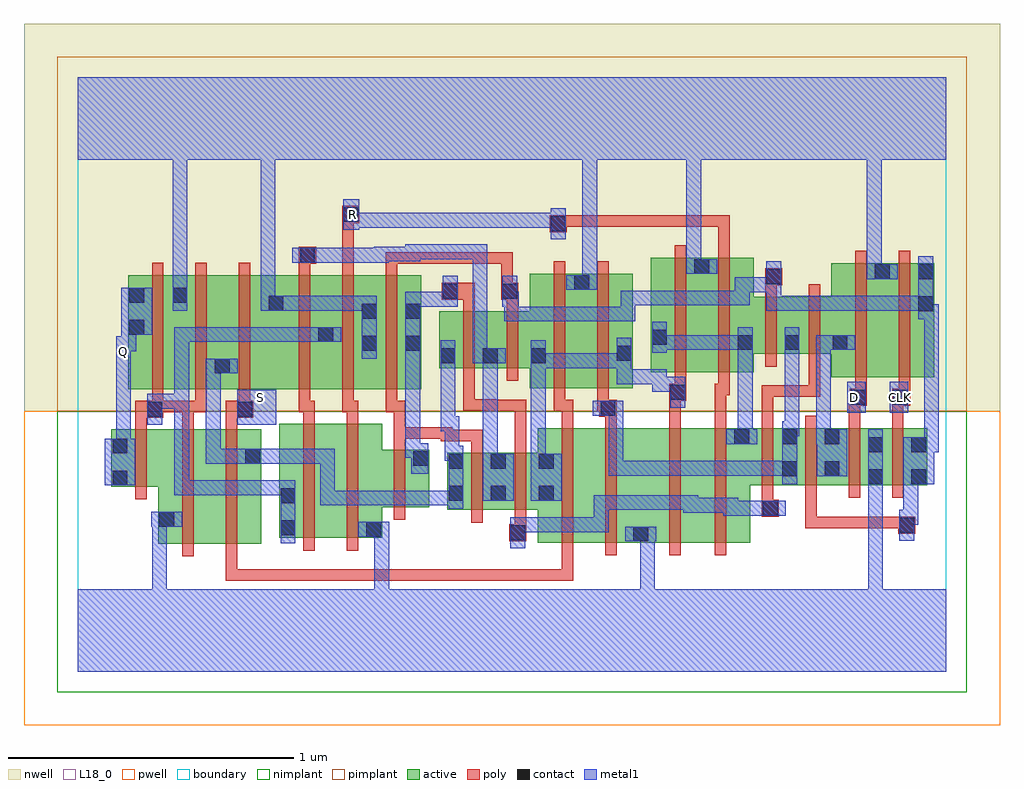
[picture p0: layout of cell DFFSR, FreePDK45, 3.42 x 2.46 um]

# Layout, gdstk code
import gdstk
lib = gdstk.Library(unit=1e-6, precision=1e-09)
def R(c, l, rs):  # rectangles x0, y0, x1, y1
    for r in rs: c.add(gdstk.rectangle(r[:2], r[2:], *l))
def A(c, l, x, y, w, h, nx, ny, dx, dy):  # array of equal rectangles
    R(c, l, [(x+i*dx, y+j*dy, x+i*dx+w, y+j*dy+h) for i in range(nx) for j in range(ny)])
active = (1, 0)
pwell = (2, 0)
nwell = (3, 0)
nimplant = (4, 0)
pimplant = (5, 0)
poly = (9, 0)
contact = (10, 0)
metal1 = (11, 0)
L18_0 = (18, 0)
boundary = (235, 0)

dffsr = lib.new_cell('DFFSR')
R(dffsr, active, [(0.282,0.448,0.462,0.848), (0.282,0.448,0.342,0.848), (0.462,0.448,0.642,0.848), (1.61,0.452,1.79,0.852), (1.79,0.452,2,0.852), (1.94,0.452,2.174,0.852), (1.94,0.452,2,0.524), (2.174,0.452,2.354,0.852), (0.582,0.46,0.642,0.848), (0.706,0.468,0.886,0.868), (0.706,0.468,0.766,0.868), (0.886,0.468,1.066,0.868), (1.006,0.468,1.066,0.662), (2.294,0.564,2.354,0.852), (1.294,0.566,1.502,0.766), (1.442,0.566,1.67,0.766), (1.294,0.574,1.354,0.766), (1.006,0.576,1.23,0.776), (1.17,0.576,1.23,0.776), (1.61,0.588,1.67,0.766), (1.442,0.594,1.502,0.766), (0.118,0.648,0.178,0.848), (0.118,0.648,0.342,0.848), (2.294,0.652,2.522,0.852), (2.462,0.652,2.67,0.852), (2.61,0.652,2.822,0.852), (2.762,0.652,2.974,0.852), (2.762,0.652,2.822,0.824), (2.914,0.652,2.974,0.852), (2.462,0.668,2.522,0.852), (2.61,0.668,2.67,0.852), (0.176,0.988,0.236,1.388), (0.176,0.988,0.388,1.388), (0.328,0.988,0.536,1.388), (0.476,0.988,0.724,1.388), (0.664,0.988,0.898,1.388), (0.838,0.988,1.05,1.388), (0.99,0.988,1.202,1.388), (0.99,0.988,1.05,1.382), (1.142,0.988,1.202,1.382), (1.582,0.992,1.794,1.392), (1.734,0.992,1.942,1.392), (1.882,0.992,1.942,1.392), (2.638,1.03,2.846,1.43), (2.786,1.03,2.998,1.43), (2.938,1.03,2.998,1.43), (0.476,1.04,0.536,1.356), (2.006,1.048,2.066,1.448), (2.006,1.048,2.214,1.448), (2.154,1.048,2.366,1.448), (1.266,1.062,1.474,1.262), (1.266,1.062,1.326,1.194), (1.414,1.062,1.642,1.262), (1.582,1.062,1.642,1.344), (1.414,1.076,1.474,1.156), (1.734,1.084,1.794,1.392), (2.154,1.112,2.214,1.448), (2.306,1.112,2.53,1.312), (2.47,1.112,2.698,1.312), (2.638,1.112,2.698,1.43), (2.786,1.116,2.846,1.43), (2.306,1.122,2.366,1.182), (2.47,1.122,2.53,1.182), (0.838,1.15,0.898,1.318), (0.664,1.224,0.724,1.388), (0.328,1.254,0.388,1.388)])
R(dffsr, pwell, [(-0.188,-0.188,3.228,0.912)])
R(dffsr, nwell, [(-0.188,0.912,3.228,2.268)])
R(dffsr, nimplant, [(-0.072,-0.072,3.112,0.912)])
R(dffsr, pimplant, [(-0.072,0.912,3.112,2.152)])
A(dffsr, poly, 2.394, 0.608, 0.04, 0.288, 4, 1, 0.152, 0)
A(dffsr, poly, 0.26, 0.908, 0.04, 0.076, 3, 1, 0.152, 0)
A(dffsr, poly, 0.774, 0.908, 0.04, 0.076, 3, 1, 0.152, 0)
A(dffsr, poly, 0.26, 0.944, 0.04, 0.488, 3, 1, 0.152, 0)
A(dffsr, poly, 0.774, 0.944, 0.04, 0.488, 3, 1, 0.152, 0)
R(dffsr, poly, [(0.518,0.318,0.558,0.358), (0.518,0.318,0.558,0.358), (0.518,0.318,0.558,0.358), (0.518,0.318,0.664,0.358), (0.518,0.318,0.558,0.444), (0.624,0.318,0.664,0.358), (0.624,0.318,0.664,0.358), (0.624,0.318,0.664,0.358), (0.624,0.318,0.77,0.358), (0.73,0.318,0.77,0.358), (0.73,0.318,0.77,0.358), (0.73,0.318,0.77,0.358), (0.73,0.318,1.012,0.358), (0.972,0.318,1.012,0.358), (0.972,0.318,1.012,0.358), (0.972,0.318,1.012,0.358), (0.972,0.318,1.118,0.358), (1.078,0.318,1.118,0.358), (1.078,0.318,1.33,0.358), (1.29,0.318,1.33,0.358), (1.29,0.318,1.33,0.358), (1.29,0.318,1.33,0.358), (1.29,0.318,1.496,0.358), (1.456,0.318,1.496,0.358), (1.456,0.318,1.496,0.358), (1.456,0.318,1.496,0.358), (1.456,0.318,1.734,0.358), (1.694,0.318,1.734,0.358), (1.694,0.318,1.734,0.358), (1.694,0.318,1.734,0.358), (1.694,0.318,1.734,0.448), (0.366,0.404,0.406,0.892), (0.518,0.404,0.558,0.892), (1.694,0.408,1.734,0.896), (1.846,0.408,1.886,0.896), (2.07,0.408,2.11,0.896), (2.23,0.408,2.27,0.896), (0.79,0.424,0.83,0.912), (0.942,0.424,0.982,0.912), (1.51,0.456,1.57,0.516), (1.53,0.476,1.57,0.562), (2.872,0.482,2.932,0.542), (2.546,0.502,2.586,0.542), (2.546,0.502,2.696,0.542), (2.546,0.502,2.586,0.648), (2.656,0.502,2.696,0.542), (2.656,0.502,2.696,0.542), (2.656,0.502,2.696,0.542), (2.656,0.502,2.912,0.542), (2.872,0.502,2.912,0.542), (2.872,0.502,2.912,0.542), (1.378,0.522,1.418,0.81), (1.53,0.522,1.57,0.81), (1.106,0.532,1.146,0.82), (2.394,0.542,2.454,0.602), (2.394,0.562,2.434,0.648), (0.202,0.604,0.242,0.892), (1.378,0.77,1.418,0.846), (1.53,0.77,1.57,0.952), (1.106,0.78,1.146,0.856), (1.27,0.806,1.418,0.846), (1.27,0.806,1.31,0.856), (1.378,0.806,1.418,0.846), (1.106,0.816,1.146,0.856), (1.106,0.816,1.146,0.856), (1.106,0.816,1.146,0.856), (1.106,0.816,1.31,0.856), (1.106,0.816,1.146,0.948), (0.202,0.852,0.242,0.928), (0.366,0.852,0.406,0.948), (0.518,0.852,0.558,0.928), (1.694,0.856,1.734,0.952), (1.846,0.856,1.886,0.932), (2.07,0.856,2.11,0.988), (2.23,0.856,2.27,1.008), (2.394,0.856,2.434,1.002), (2.698,0.856,2.738,0.97), (2.85,0.856,2.89,0.97), (0.79,0.872,0.83,0.948), (0.942,0.872,0.982,0.948), (0.202,0.888,0.3,0.948), (0.518,0.888,0.614,0.948), (1.826,0.892,1.886,0.952), (0.26,0.908,0.3,0.948), (0.26,0.908,0.3,0.948), (0.26,0.908,0.3,0.948), (0.26,0.908,0.3,0.948), (0.26,0.908,0.406,0.948), (0.366,0.908,0.406,0.948), (0.366,0.908,0.406,0.948), (0.366,0.908,0.452,0.948), (0.564,0.908,0.604,0.948), (0.564,0.908,0.604,0.948), (0.774,0.908,0.814,0.948), (0.774,0.908,0.814,0.948), (0.774,0.908,0.83,0.948), (0.926,0.908,0.982,0.948), (0.942,0.908,0.982,0.948), (0.942,0.908,0.982,0.948), (1.078,0.908,1.146,0.948), (1.428,0.912,1.57,0.952), (1.428,0.912,1.468,0.954), (1.53,0.912,1.57,0.952), (1.53,0.912,1.57,0.952), (1.53,0.912,1.57,0.952), (1.666,0.912,1.706,0.988), (1.666,0.912,1.734,0.952), (1.694,0.912,1.734,0.952), (1.694,0.912,1.734,0.952), (1.818,0.912,1.858,0.988), (1.818,0.912,1.866,0.952), (1.826,0.912,1.866,0.952), (1.35,0.914,1.39,0.954), (1.35,0.914,1.468,0.954), (1.35,0.914,1.39,1.058), (2.698,0.93,2.742,0.97), (2.702,0.93,2.742,0.97), (2.702,0.93,2.762,0.99), (2.85,0.93,2.89,0.97), (2.85,0.93,2.89,0.97), (2.85,0.93,2.914,0.99), (1.666,0.948,1.706,1.436), (1.818,0.948,1.858,1.436), (2.07,0.948,2.11,0.988), (2.07,0.948,2.11,0.988), (2.07,0.948,2.13,1.008), (2.722,0.95,2.762,1.026), (2.874,0.95,2.914,1.026), (2.394,0.962,2.434,1.002), (2.394,0.962,2.434,1.002), (2.394,0.962,2.434,1.002), (2.394,0.962,2.598,1.002), (2.558,0.962,2.598,1.002), (2.558,0.962,2.598,1.002), (2.558,0.962,2.598,1.002), (2.558,0.962,2.598,1.108), (2.09,0.968,2.13,1.044), (2.23,0.968,2.282,1.008), (2.242,0.968,2.282,1.044), (2.242,0.968,2.282,1.008), (2.242,0.968,2.282,1.008), (2.722,0.986,2.762,1.474), (2.874,0.986,2.914,1.474), (2.09,1.004,2.13,1.492), (2.242,1.004,2.282,1.492), (1.35,1.018,1.39,1.306), (1.502,1.018,1.542,1.306), (2.406,1.068,2.446,1.356), (2.558,1.068,2.598,1.356), (1.35,1.266,1.39,1.342), (1.502,1.266,1.542,1.342), (1.274,1.302,1.39,1.362), (1.482,1.302,1.542,1.362), (2.406,1.316,2.446,1.392), (1.482,1.322,1.522,1.468), (2.406,1.352,2.466,1.412), (0.774,1.392,0.814,1.468), (0.926,1.392,0.966,1.61), (1.078,1.392,1.118,1.468), (0.774,1.428,0.834,1.488), (1.078,1.428,1.118,1.468), (1.078,1.428,1.118,1.468), (1.078,1.428,1.118,1.468), (1.078,1.428,1.33,1.468), (1.29,1.428,1.33,1.468), (1.29,1.428,1.33,1.468), (1.29,1.428,1.33,1.468), (1.29,1.428,1.522,1.468), (1.482,1.428,1.522,1.468), (1.482,1.428,1.522,1.468), (1.482,1.428,1.522,1.468), (1.482,1.428,1.522,1.468), (1.482,1.428,1.522,1.468), (2.242,1.452,2.282,1.598), (1.652,1.538,1.712,1.598), (1.672,1.558,1.84,1.598), (1.8,1.558,1.84,1.598), (1.8,1.558,1.84,1.598), (1.8,1.558,1.84,1.598), (1.8,1.558,1.946,1.598), (1.906,1.558,1.946,1.598), (1.906,1.558,1.946,1.598), (1.906,1.558,1.946,1.598), (1.906,1.558,2.164,1.598), (2.124,1.558,2.164,1.598), (2.124,1.558,2.282,1.598), (2.242,1.558,2.282,1.598), (2.242,1.558,2.282,1.598), (2.242,1.558,2.282,1.598), (0.926,1.57,0.986,1.63)])
R(dffsr, contact, [(1.944,0.456,1.996,0.508), (1.514,0.46,1.566,0.512), (1.01,0.472,1.062,0.524), (0.71,0.478,0.762,0.53), (2.876,0.486,2.928,0.538), (0.286,0.508,0.338,0.56), (2.398,0.546,2.45,0.598), (0.71,0.59,0.762,0.642), (1.298,0.598,1.35,0.65), (1.446,0.598,1.498,0.65), (1.614,0.598,1.666,0.65), (0.122,0.652,0.174,0.704), (2.766,0.656,2.818,0.708), (2.918,0.656,2.97,0.708), (2.466,0.684,2.518,0.736), (2.614,0.684,2.666,0.736), (1.298,0.71,1.35,0.762), (1.446,0.71,1.498,0.762), (1.614,0.71,1.666,0.762), (1.174,0.72,1.226,0.772), (0.586,0.728,0.638,0.78), (0.122,0.764,0.174,0.816), (2.766,0.768,2.818,0.82), (2.918,0.768,2.97,0.82), (2.298,0.796,2.35,0.848), (2.466,0.796,2.518,0.848), (2.614,0.796,2.666,0.848), (0.244,0.892,0.296,0.944), (0.558,0.892,0.61,0.944), (1.83,0.896,1.882,0.948), (2.706,0.934,2.758,0.986), (2.854,0.934,2.906,0.986), (2.074,0.952,2.126,1.004), (0.48,1.044,0.532,1.096), (1.27,1.08,1.322,1.132), (1.418,1.08,1.47,1.132), (1.586,1.08,1.638,1.132), (1.886,1.088,1.938,1.14), (0.994,1.124,1.046,1.176), (1.146,1.124,1.198,1.176), (2.31,1.126,2.362,1.178), (2.474,1.126,2.526,1.178), (2.642,1.126,2.694,1.178), (2.01,1.144,2.062,1.196), (0.842,1.154,0.894,1.206), (0.18,1.18,0.232,1.232), (0.994,1.236,1.046,1.288), (1.146,1.236,1.198,1.288), (2.942,1.262,2.994,1.314), (0.668,1.264,0.72,1.316), (0.18,1.292,0.232,1.344), (0.332,1.292,0.384,1.344), (1.278,1.306,1.33,1.358), (1.486,1.306,1.538,1.358), (1.738,1.336,1.79,1.388), (2.41,1.356,2.462,1.408), (2.79,1.374,2.842,1.426), (2.942,1.374,2.994,1.426), (2.158,1.392,2.21,1.444), (0.778,1.432,0.83,1.484), (1.656,1.542,1.708,1.594), (0.93,1.574,0.982,1.626)])
A(dffsr, metal1, 0.53, 0.728, 0.052, 0.052, 3, 1, 0.11, 0)
R(dffsr, metal1, [(0,0,3.04,0.288), (0.26,0.236,0.312,0.288), (0.26,0.236,0.312,0.288), (0.26,0.236,0.312,0.56), (1.038,0.236,1.09,0.524), (1.968,0.236,2.02,0.508), (2.766,0.236,2.818,0.288), (2.766,0.236,2.818,0.288), (2.766,0.236,2.818,0.288), (2.766,0.236,2.818,0.288), (2.766,0.236,2.818,0.288), (2.766,0.236,2.818,0.288), (2.766,0.236,2.818,0.68), (1.514,0.432,1.566,0.54), (0.71,0.45,0.762,0.67), (1.916,0.456,2.024,0.508), (1.968,0.456,2.02,0.508), (1.968,0.456,2.02,0.508), (2.876,0.458,2.928,0.566), (0.982,0.472,1.09,0.524), (1.038,0.472,1.09,0.524), (1.038,0.472,1.09,0.524), (1.514,0.488,1.566,0.54), (1.514,0.488,1.566,0.54), (1.514,0.488,1.744,0.54), (1.692,0.488,1.744,0.54), (1.692,0.488,1.748,0.54), (1.696,0.488,1.748,0.54), (1.696,0.488,1.858,0.54), (1.806,0.488,1.858,0.618), (0.258,0.508,0.366,0.56), (2.876,0.514,2.942,0.566), (2.89,0.514,2.942,0.566), (2.89,0.514,2.942,0.566), (2.89,0.514,2.942,0.566), (2.89,0.514,2.942,0.708), (2.26,0.546,2.312,0.598), (2.26,0.546,2.312,0.598), (2.26,0.546,2.422,0.598), (2.26,0.546,2.312,0.608), (2.37,0.546,2.478,0.598), (2.12,0.556,2.172,0.608), (2.12,0.556,2.172,0.608), (2.12,0.556,2.312,0.608), (2.12,0.556,2.172,0.618), (1.806,0.566,1.858,0.618), (1.806,0.566,1.858,0.618), (1.806,0.566,2.062,0.618), (2.01,0.566,2.062,0.618), (2.01,0.566,2.172,0.618), (1.298,0.57,1.35,0.79), (0.848,0.582,0.9,0.634), (0.848,0.582,1.01,0.634), (0.848,0.582,0.9,0.78), (0.958,0.582,1.01,0.634), (0.958,0.582,1.01,0.634), (0.958,0.582,1.01,0.634), (0.958,0.582,1.2,0.634), (1.148,0.582,1.2,0.634), (1.148,0.582,1.2,0.634), (1.148,0.582,1.2,0.634), (1.148,0.582,1.35,0.634), (1.418,0.598,1.526,0.762), (1.586,0.598,1.694,0.762), (0.338,0.618,0.39,0.67), (0.338,0.618,0.406,0.67), (0.338,0.618,0.39,0.972), (0.354,0.618,0.406,0.67), (0.354,0.618,0.5,0.67), (0.448,0.618,0.5,0.67), (0.448,0.618,0.582,0.67), (0.53,0.618,0.582,0.67), (0.53,0.618,0.61,0.67), (0.558,0.618,0.61,0.67), (0.558,0.618,0.762,0.67), (2.766,0.628,2.818,0.848), (0.094,0.652,0.202,0.816), (2.466,0.656,2.518,0.876), (2.89,0.656,2.998,0.82), (2.586,0.684,2.694,0.848), (1.858,0.686,1.91,0.738), (1.858,0.686,2.062,0.738), (1.858,0.686,1.91,0.948), (2.01,0.686,2.062,0.738), (2.01,0.686,2.062,0.738), (2.01,0.686,2.062,0.738), (2.01,0.686,2.172,0.738), (2.12,0.686,2.172,0.738), (2.12,0.686,2.172,0.738), (2.12,0.686,2.172,0.738), (2.12,0.686,2.312,0.738), (2.26,0.686,2.312,0.738), (2.26,0.686,2.312,0.738), (2.26,0.686,2.312,0.738), (2.26,0.686,2.518,0.738), (2.466,0.686,2.518,0.738), (2.466,0.686,2.518,0.738), (1.168,0.692,1.226,0.8), (1.418,0.71,1.47,0.762), (1.418,0.71,1.47,0.762), (1.418,0.71,1.47,0.762), (1.418,0.71,1.47,0.762), (1.418,0.71,1.47,1.132), (1.586,0.71,1.638,0.762), (1.586,0.71,1.638,0.762), (1.586,0.71,1.638,1.104), (0.448,0.728,0.5,0.78), (0.448,0.728,0.582,0.78), (0.448,0.728,0.5,1.096), (0.53,0.728,0.61,0.78), (0.558,0.728,0.666,0.78), (0.614,0.728,0.692,0.78), (0.64,0.728,0.802,0.78), (0.75,0.728,0.9,0.78), (0.848,0.728,0.9,0.78), (1.284,0.738,1.336,0.79), (1.284,0.738,1.336,0.79), (1.284,0.738,1.35,0.79), (1.284,0.738,1.336,0.894), (1.298,0.738,1.35,0.79), (1.146,0.748,1.212,0.8), (1.146,0.748,1.198,1.148), (1.16,0.748,1.212,0.8), (1.16,0.748,1.22,0.8), (1.168,0.748,1.22,0.8), (0.134,0.764,0.186,1.118), (2.946,0.768,2.998,0.82), (2.946,0.768,3.014,0.82), (2.962,0.768,3.014,1.286), (2.27,0.796,2.378,0.848), (2.31,0.796,2.362,1.15), (2.584,0.796,2.636,1.178), (2.584,0.796,2.638,0.848), (2.586,0.796,2.638,0.848), (2.466,0.824,2.518,0.876), (2.466,0.824,2.526,0.876), (2.474,0.824,2.526,0.876), (2.474,0.824,2.526,0.876), (2.474,0.824,2.526,1.15), (1.27,0.842,1.336,0.894), (1.27,0.842,1.322,1.104), (0.244,0.864,0.296,0.972), (0.558,0.864,0.694,0.986), (1.802,0.896,1.91,0.948), (1.858,0.896,1.91,0.948), (1.858,0.896,1.91,0.948), (2.694,0.906,2.758,1.014), (2.842,0.906,2.906,1.014), (0.244,0.92,0.39,0.972), (0.338,0.92,0.39,0.972), (0.338,0.92,0.39,0.972), (0.338,0.92,0.39,0.972), (0.338,0.92,0.39,0.972), (0.338,0.92,0.39,0.972), (0.338,0.92,0.39,0.972), (0.338,0.92,0.39,0.972), (0.338,0.92,0.39,1.206), (2.074,0.924,2.126,1.032), (2.01,0.98,2.126,1.032), (2.01,0.98,2.062,1.058), (1.886,1.006,1.938,1.058), (1.886,1.006,2.062,1.058), (1.886,1.006,1.938,1.112), (0.448,1.044,0.5,1.096), (0.448,1.044,0.5,1.096), (0.448,1.044,0.504,1.096), (0.452,1.044,0.504,1.096), (0.452,1.044,0.56,1.096), (1.27,1.052,1.322,1.16), (1.586,1.052,1.638,1.104), (1.586,1.052,1.638,1.104), (1.586,1.052,1.638,1.16), (1.886,1.06,1.938,1.168), (1.586,1.062,1.744,1.114), (1.692,1.062,1.744,1.114), (1.692,1.062,1.748,1.114), (1.696,1.062,1.748,1.114), (1.696,1.062,1.938,1.114), (1.886,1.062,1.938,1.114), (1.886,1.062,1.938,1.114), (0.134,1.066,0.186,1.174), (1.382,1.08,1.498,1.132), (1.382,1.08,1.434,1.496), (1.418,1.08,1.47,1.132), (1.418,1.08,1.47,1.132), (0.994,1.096,1.046,1.316), (1.146,1.096,1.198,1.316), (2.31,1.098,2.362,1.15), (2.31,1.098,2.362,1.15), (2.31,1.098,2.362,1.15), (2.31,1.098,2.362,1.15), (2.31,1.098,2.362,1.206), (2.474,1.098,2.526,1.15), (2.474,1.098,2.526,1.15), (2.474,1.098,2.526,1.206), (2.01,1.116,2.062,1.224), (0.134,1.122,0.186,1.174), (0.134,1.122,0.204,1.174), (0.152,1.122,0.204,1.232), (2.01,1.126,2.062,1.178), (2.01,1.126,2.062,1.178), (2.01,1.126,2.202,1.178), (2.15,1.126,2.202,1.178), (2.15,1.126,2.312,1.178), (2.26,1.126,2.312,1.178), (2.26,1.126,2.362,1.178), (2.584,1.126,2.636,1.178), (2.584,1.126,2.636,1.178), (2.584,1.126,2.722,1.178), (0.338,1.154,0.39,1.206), (0.338,1.154,0.406,1.206), (0.354,1.154,0.406,1.206), (0.354,1.154,0.5,1.206), (0.448,1.154,0.5,1.206), (0.448,1.154,0.582,1.206), (0.53,1.154,0.582,1.206), (0.53,1.154,0.692,1.206), (0.64,1.154,0.692,1.206), (0.64,1.154,0.692,1.206), (0.64,1.154,0.692,1.206), (0.64,1.154,0.866,1.206), (0.814,1.154,0.866,1.206), (0.814,1.154,0.866,1.206), (0.814,1.154,0.922,1.206), (0.152,1.18,0.26,1.344), (1.492,1.226,1.71,1.278), (1.492,1.226,1.544,1.33), (1.658,1.226,1.71,1.278), (1.658,1.226,1.748,1.278), (1.696,1.226,1.748,1.278), (1.696,1.226,1.952,1.278), (1.9,1.226,1.952,1.278), (1.9,1.226,1.952,1.278), (1.9,1.226,1.952,1.334), (2.942,1.234,2.994,1.286), (2.942,1.234,2.994,1.454), (2.942,1.234,3.014,1.286), (2.962,1.234,3.014,1.286), (2.962,1.234,3.014,1.286), (0.332,1.264,0.384,1.372), (0.64,1.264,0.692,1.316), (0.64,1.264,0.692,1.316), (0.64,1.264,0.692,1.316), (0.64,1.264,0.692,1.316), (0.64,1.264,0.692,1.316), (0.64,1.264,0.692,1.316), (0.64,1.264,0.748,1.316), (0.64,1.264,0.692,1.844), (0.696,1.264,0.748,1.316), (0.696,1.264,0.748,1.316), (0.696,1.264,0.872,1.316), (0.82,1.264,0.872,1.316), (0.82,1.264,0.872,1.316), (0.82,1.264,0.872,1.316), (0.82,1.264,1.046,1.316), (0.994,1.264,1.046,1.316), (0.994,1.264,1.046,1.316), (1.146,1.264,1.198,1.33), (2.41,1.264,2.462,1.316), (2.41,1.264,2.636,1.316), (2.41,1.264,2.462,1.38), (2.584,1.264,2.636,1.316), (2.584,1.264,2.636,1.316), (2.584,1.264,2.636,1.316), (2.584,1.264,2.746,1.316), (2.694,1.264,2.746,1.316), (2.694,1.264,2.746,1.316), (2.694,1.264,2.746,1.316), (2.694,1.264,2.994,1.316), (2.942,1.264,2.994,1.316), (2.942,1.264,2.994,1.316), (1.146,1.278,1.198,1.33), (1.146,1.278,1.31,1.33), (1.258,1.278,1.31,1.33), (1.258,1.278,1.31,1.33), (1.258,1.278,1.31,1.33), (1.258,1.278,1.33,1.33), (1.278,1.278,1.33,1.386), (1.486,1.278,1.538,1.386), (1.486,1.278,1.544,1.33), (1.9,1.282,2.062,1.334), (2.01,1.282,2.062,1.334), (2.01,1.282,2.172,1.334), (2.12,1.282,2.172,1.334), (2.12,1.282,2.172,1.334), (2.12,1.282,2.172,1.334), (2.12,1.282,2.312,1.334), (2.26,1.282,2.312,1.334), (2.26,1.282,2.352,1.334), (2.3,1.282,2.352,1.38), (0.332,1.32,0.384,1.372), (0.332,1.32,0.384,1.372), (0.332,1.32,0.384,1.372), (0.332,1.32,0.384,1.372), (0.332,1.32,0.384,1.372), (0.332,1.32,0.384,1.372), (0.332,1.32,0.384,1.844), (2.3,1.328,2.462,1.38), (2.41,1.328,2.462,1.38), (2.41,1.328,2.462,1.38), (2.41,1.328,2.462,1.436), (1.71,1.336,1.818,1.388), (1.766,1.336,1.818,1.388), (1.766,1.336,1.818,1.388), (1.766,1.336,1.818,1.844), (2.762,1.374,2.814,1.426), (2.762,1.374,2.814,1.426), (2.762,1.374,2.814,1.426), (2.762,1.374,2.814,1.426), (2.762,1.374,2.814,1.426), (2.762,1.374,2.814,1.426), (2.762,1.374,2.814,1.426), (2.762,1.374,2.814,1.426), (2.762,1.374,2.814,1.844), (2.762,1.374,2.87,1.426), (2.13,1.392,2.238,1.444), (2.13,1.392,2.182,1.844), (0.75,1.432,0.858,1.484), (0.806,1.432,0.858,1.484), (0.806,1.432,0.858,1.484), (0.806,1.432,0.858,1.484), (0.806,1.432,0.858,1.484), (0.806,1.432,1.088,1.484), (1.036,1.432,1.088,1.484), (1.036,1.432,1.088,1.484), (1.036,1.432,1.088,1.488), (1.036,1.436,1.198,1.488), (1.146,1.436,1.198,1.488), (1.146,1.436,1.198,1.488), (1.146,1.436,1.198,1.496), (1.146,1.444,1.318,1.496), (1.266,1.444,1.318,1.496), (1.266,1.444,1.428,1.496), (1.376,1.444,1.428,1.496), (1.376,1.444,1.434,1.496), (1.382,1.444,1.434,1.496), (1.382,1.444,1.434,1.496), (1.382,1.444,1.434,1.496), (1.656,1.514,1.708,1.622), (0.93,1.546,0.986,1.654), (0.934,1.554,1.01,1.606), (0.958,1.554,1.01,1.606), (0.958,1.554,1.198,1.606), (1.146,1.554,1.198,1.606), (1.146,1.554,1.198,1.606), (1.146,1.554,1.198,1.606), (1.146,1.554,1.318,1.606), (1.266,1.554,1.318,1.606), (1.266,1.554,1.428,1.606), (1.376,1.554,1.428,1.606), (1.376,1.554,1.428,1.606), (1.376,1.554,1.428,1.606), (1.376,1.554,1.544,1.606), (1.492,1.554,1.544,1.606), (1.492,1.554,1.544,1.606), (1.492,1.554,1.544,1.606), (1.492,1.554,1.708,1.606), (0,1.792,3.04,2.08), (0.332,1.792,0.384,1.844), (0.332,1.792,0.384,1.844), (0.64,1.792,0.692,1.844), (0.64,1.792,0.692,1.844), (1.766,1.792,1.818,1.844), (1.766,1.792,1.818,1.844), (1.766,1.792,1.818,1.844), (1.766,1.792,1.818,1.844), (1.766,1.792,1.818,1.844), (1.766,1.792,1.818,1.844), (2.13,1.792,2.182,1.844), (2.13,1.792,2.182,1.844), (2.13,1.792,2.182,1.844), (2.13,1.792,2.182,1.844), (2.13,1.792,2.182,1.844), (2.13,1.792,2.182,1.844), (2.13,1.792,2.182,1.844), (2.13,1.792,2.182,1.844)])
R(dffsr, L18_0, [(0,0,3.04,0.288), (0.26,0.236,0.312,0.288), (0.26,0.236,0.312,0.288), (0.26,0.236,0.312,0.56), (1.038,0.236,1.09,0.524), (1.968,0.236,2.02,0.508), (2.766,0.236,2.818,0.288), (2.766,0.236,2.818,0.288), (2.766,0.236,2.818,0.288), (2.766,0.236,2.818,0.288), (2.766,0.236,2.818,0.288), (2.766,0.236,2.818,0.288), (2.766,0.236,2.818,0.68), (1.916,0.456,2.024,0.508), (1.968,0.456,2.02,0.508), (1.968,0.456,2.02,0.508), (0.982,0.472,1.09,0.524), (1.038,0.472,1.09,0.524), (1.038,0.472,1.09,0.524), (0.258,0.508,0.366,0.56), (2.766,0.628,2.818,0.848), (0.094,0.652,0.202,0.816), (0.134,0.764,0.186,1.118), (0.558,0.864,0.694,0.986), (2.694,0.906,2.758,1.014), (2.842,0.906,2.906,1.014), (0.614,0.934,0.666,0.986), (2.694,0.934,2.746,0.986), (2.854,0.934,2.906,0.986), (0.134,1.066,0.186,1.174), (0.134,1.094,0.186,1.146), (0.994,1.096,1.046,1.316), (0.134,1.122,0.204,1.174), (0.134,1.122,0.186,1.174), (0.152,1.122,0.204,1.232), (0.152,1.18,0.26,1.344), (0.332,1.264,0.384,1.372), (0.64,1.264,0.692,1.316), (0.64,1.264,0.692,1.316), (0.64,1.264,0.692,1.316), (0.64,1.264,0.692,1.316), (0.64,1.264,0.692,1.316), (0.64,1.264,0.692,1.316), (0.64,1.264,0.748,1.316), (0.64,1.264,0.692,1.844), (0.696,1.264,0.748,1.316), (0.696,1.264,0.748,1.316), (0.696,1.264,0.872,1.316), (0.82,1.264,0.872,1.316), (0.82,1.264,0.872,1.316), (0.82,1.264,0.872,1.316), (0.82,1.264,1.046,1.316), (0.994,1.264,1.046,1.316), (0.994,1.264,1.046,1.316), (0.332,1.32,0.384,1.372), (0.332,1.32,0.384,1.372), (0.332,1.32,0.384,1.372), (0.332,1.32,0.384,1.372), (0.332,1.32,0.384,1.372), (0.332,1.32,0.384,1.372), (0.332,1.32,0.384,1.844), (1.71,1.336,1.818,1.388), (1.766,1.336,1.818,1.388), (1.766,1.336,1.818,1.388), (1.766,1.336,1.818,1.844), (2.762,1.374,2.814,1.426), (2.762,1.374,2.814,1.426), (2.762,1.374,2.814,1.426), (2.762,1.374,2.814,1.426), (2.762,1.374,2.814,1.426), (2.762,1.374,2.814,1.426), (2.762,1.374,2.814,1.426), (2.762,1.374,2.814,1.426), (2.762,1.374,2.87,1.426), (2.762,1.374,2.814,1.844), (2.13,1.392,2.238,1.444), (2.13,1.392,2.182,1.844), (1.656,1.514,1.708,1.622), (0.93,1.546,0.986,1.654), (0.934,1.554,1.01,1.606), (0.958,1.554,1.01,1.606), (0.958,1.554,1.198,1.606), (1.146,1.554,1.198,1.606), (1.146,1.554,1.198,1.606), (1.146,1.554,1.198,1.606), (1.146,1.554,1.318,1.606), (1.266,1.554,1.318,1.606), (1.266,1.554,1.428,1.606), (1.376,1.554,1.428,1.606), (1.376,1.554,1.428,1.606), (1.376,1.554,1.428,1.606), (1.376,1.554,1.544,1.606), (1.492,1.554,1.544,1.606), (1.492,1.554,1.544,1.606), (1.492,1.554,1.544,1.606), (1.492,1.554,1.708,1.606), (0.934,1.574,0.986,1.626), (0,1.792,3.04,2.08), (0.332,1.792,0.384,1.844), (0.332,1.792,0.384,1.844), (0.64,1.792,0.692,1.844), (0.64,1.792,0.692,1.844), (1.766,1.792,1.818,1.844), (1.766,1.792,1.818,1.844), (1.766,1.792,1.818,1.844), (1.766,1.792,1.818,1.844), (1.766,1.792,1.818,1.844), (1.766,1.792,1.818,1.844), (2.13,1.792,2.182,1.844), (2.13,1.792,2.182,1.844), (2.13,1.792,2.182,1.844), (2.13,1.792,2.182,1.844), (2.13,1.792,2.182,1.844), (2.13,1.792,2.182,1.844), (2.13,1.792,2.182,1.844), (2.13,1.792,2.182,1.844)])
R(dffsr, boundary, [(0,0,3.04,2.08)])
dffsr.add(gdstk.Label('CLK', (2.88,0.96), layer=11, texttype=0))
dffsr.add(gdstk.Label('D', (2.72,0.96), layer=11, texttype=0))
dffsr.add(gdstk.Label('Q', (0.16,1.12), layer=11, texttype=0))
dffsr.add(gdstk.Label('R', (0.96,1.6), layer=11, texttype=0))
dffsr.add(gdstk.Label('S', (0.64,0.96), layer=11, texttype=0))

lib.write_gds('DFFSR.gds')
